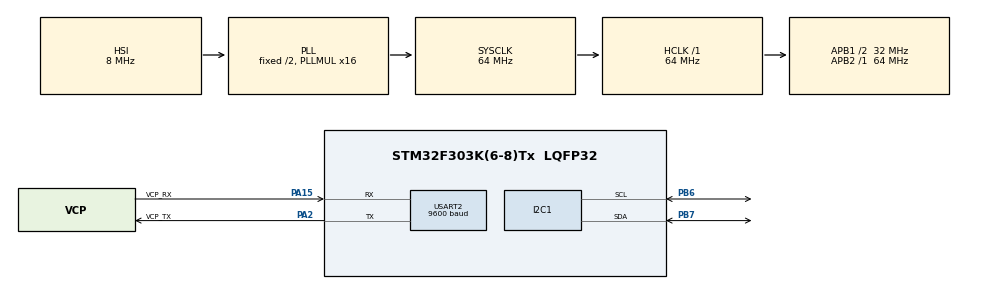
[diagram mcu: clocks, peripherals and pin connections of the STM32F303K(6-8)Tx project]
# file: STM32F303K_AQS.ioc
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Mcu.Family=STM32F3
Mcu.Name=STM32F303K(6-8)Tx
Mcu.Package=LQFP32
NVIC.PriorityGroup=NVIC_PRIORITYGROUP_4
PA13.GPIO_Label=SWDIO
PA13.Mode=Serial_Wire
PA13.Signal=SYS_JTMS-SWDIO
PA14.GPIO_Label=SWCLK
PA14.Mode=Serial_Wire
PA14.Signal=SYS_JTCK-SWCLK
PA15.GPIO_Label=VCP_RX
PA15.Mode=Asynchronous
PA15.Signal=USART2_RX
PA2.GPIO_Label=VCP_TX
PA2.Mode=Asynchronous
PA2.Signal=USART2_TX
PB6.Mode=I2C
PB6.Signal=I2C1_SCL
PB7.Mode=I2C
PB7.Signal=I2C1_SDA
PF0\ /\ OSC_IN.GPIO_Label=MCO
PF0\ /\ OSC_IN.Mode=HSE-External-Clock-Source
PF0\ /\ OSC_IN.Signal=RCC_OSC_IN
ProjectManager.HeapSize=0x200
ProjectManager.StackSize=0x400
ProjectManager.TargetToolchain=SW4STM32
RCC.AHBFreq_Value=64000000
RCC.APB1CLKDivider=RCC_HCLK_DIV2
RCC.APB1Freq_Value=32000000
RCC.APB1TimFreq_Value=64000000
RCC.APB2Freq_Value=64000000
RCC.APB2TimFreq_Value=64000000
RCC.CortexFreq_Value=64000000
RCC.HCLKFreq_Value=64000000
RCC.HSE_VALUE=8000000
RCC.HSI_VALUE=8000000
RCC.PLLMUL=RCC_PLL_MUL16
RCC.SYSCLKFreq_VALUE=64000000
RCC.SYSCLKSourceVirtual=RCC_SYSCLKSOURCE_PLLCLK
USART2.BaudRate=9600
USART2.VirtualMode-Asynchronous=VM_ASYNC
board=NUCLEO-F303K8

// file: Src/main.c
/* USER CODE BEGIN Header */
/**
  ******************************************************************************
  * @file           : main.c
  * @brief          : Main program body
  ******************************************************************************
  * @attention
  *
  * <h2><center>&copy; Copyright (c) 2020 STMicroelectronics.
  * All rights reserved.</center></h2>
  *
  * This software component is licensed by ST under BSD 3-Clause license,
  * the "License"; You may not use this file except in compliance with the
  * License. You may obtain a copy of the License at:
  *                        opensource.org/licenses/BSD-3-Clause
  *
  ******************************************************************************
  */
/* USER CODE END Header */

#include "main.h"

/* USER CODE BEGIN Includes */
#include <stdio.h>
/* USER CODE END Includes */

/* USER CODE BEGIN PTD */
#define AQS_ADDRESS   (0x32<<1)
#define AQS_DATA_LEN  16
#define AQS_ID        0x43
/* USER CODE END PTD */

I2C_HandleTypeDef hi2c1;

UART_HandleTypeDef huart2;

void SystemClock_Config(void);
static void MX_GPIO_Init(void);
static void MX_I2C1_Init(void);
static void MX_USART2_UART_Init(void);

/* USER CODE BEGIN 0 */
int _write (int fd, char *ptr, int len)
{
  HAL_UART_Transmit(&huart2, (uint8_t*)ptr, len, 1000);
  return len;
}
/* USER CODE END 0 */

int main(void)
{

  /* MCU Configuration--------------------------------------------------------*/

  /* Reset of all peripherals, Initializes the Flash interface and the Systick. */
  HAL_Init();

  /* Configure the system clock */
  SystemClock_Config();

  /* Initialize all configured peripherals */
  MX_GPIO_Init();
  MX_I2C1_Init();
  MX_USART2_UART_Init();
  /* USER CODE BEGIN 2 */
  //I2C:SCL,SDA::PB6,PB7::D5,D4
  uint8_t rdata[AQS_DATA_LEN];
  int16_t int_temp,int_humd,int_eth,int_tvoc,int_eco2,int_iaq,int_rcda;
  float temp,humd,eth,tvoc,eco2,iaq,rcda;

  printf("Init OK\n\r");

  /* USER CODE END 2 */

  /* Infinite loop */
  while (1)
  {

    /* USER CODE BEGIN 3 */

	  HAL_I2C_Mem_Read(&hi2c1,AQS_ADDRESS,0,I2C_MEMADD_SIZE_8BIT,rdata,16,0xFFFF);

	  if(rdata[0]==AQS_ID)  printf("Sensor is Found! ");
	  else                 	printf("Sensor is Not Found! ");

	  if(rdata[1]==1)       printf("Sensor is Ready! \n\r");
	  else                  printf("Sensor is Not Ready! \n\r");

	  if(rdata[0]==AQS_ID)
	  {
		  int_temp = ((rdata[2]&0xFF)<<8) +(rdata[3]&0xFF);
		  int_humd = ((rdata[4]&0xFF)<<8) +(rdata[5]&0xFF);
		  int_eth  = ((rdata[6]&0xFF)<<8) +(rdata[7]&0xFF);
		  int_tvoc = ((rdata[8]&0xFF)<<8) +(rdata[9]&0xFF);
		  int_eco2 = ((rdata[10]&0xFF)<<8) +(rdata[11]&0xFF);
		  int_iaq  = ((rdata[12]&0xFF)<<8) +(rdata[13]&0xFF);
		  int_rcda = ((rdata[14]&0xFF)<<8) +(rdata[15]&0xFF);

		  temp = int_temp/100.0;
		  humd = int_humd/100.0;
		  eth  = int_eth/100.0;
		  tvoc = int_tvoc/100.0;
		  eco2 = int_eco2/10.0;
		  iaq = int_iaq/100.0;
		  rcda = int_rcda/100.0;

		  printf("TMP:%1.1f 'C, HMD:%1.1f %%, eCO2:%1.1f ppm, IAQ:%1.1f, Etoh:%1.1f ppm, TVOC:%1.1f mg/m3, logRcda:%1.1f ohm \n\r",
					 temp, humd, eco2, iaq, eth, tvoc, rcda);
	  }

	  HAL_Delay(2000);

  }
  /* USER CODE END 3 */
}

void SystemClock_Config(void)
{
  RCC_OscInitTypeDef RCC_OscInitStruct = {0};
  RCC_ClkInitTypeDef RCC_ClkInitStruct = {0};
  RCC_PeriphCLKInitTypeDef PeriphClkInit = {0};

  /** Initializes the CPU, AHB and APB busses clocks
  */
  RCC_OscInitStruct.OscillatorType = RCC_OSCILLATORTYPE_HSI;
  RCC_OscInitStruct.HSIState = RCC_HSI_ON;
  RCC_OscInitStruct.HSICalibrationValue = RCC_HSICALIBRATION_DEFAULT;
  RCC_OscInitStruct.PLL.PLLState = RCC_PLL_ON;
  RCC_OscInitStruct.PLL.PLLSource = RCC_PLLSOURCE_HSI;
  RCC_OscInitStruct.PLL.PLLMUL = RCC_PLL_MUL16;
  if (HAL_RCC_OscConfig(&RCC_OscInitStruct) != HAL_OK)
  {
    Error_Handler();
  }
  /** Initializes the CPU, AHB and APB busses clocks
  */
  RCC_ClkInitStruct.ClockType = RCC_CLOCKTYPE_HCLK|RCC_CLOCKTYPE_SYSCLK
                              |RCC_CLOCKTYPE_PCLK1|RCC_CLOCKTYPE_PCLK2;
  RCC_ClkInitStruct.SYSCLKSource = RCC_SYSCLKSOURCE_PLLCLK;
  RCC_ClkInitStruct.AHBCLKDivider = RCC_SYSCLK_DIV1;
  RCC_ClkInitStruct.APB1CLKDivider = RCC_HCLK_DIV2;
  RCC_ClkInitStruct.APB2CLKDivider = RCC_HCLK_DIV1;

  if (HAL_RCC_ClockConfig(&RCC_ClkInitStruct, FLASH_LATENCY_2) != HAL_OK)
  {
    Error_Handler();
  }
  PeriphClkInit.PeriphClockSelection = RCC_PERIPHCLK_I2C1;
  PeriphClkInit.I2c1ClockSelection = RCC_I2C1CLKSOURCE_HSI;
  if (HAL_RCCEx_PeriphCLKConfig(&PeriphClkInit) != HAL_OK)
  {
    Error_Handler();
  }
}

static void MX_I2C1_Init(void)
{

  hi2c1.Instance = I2C1;
  hi2c1.Init.Timing = 0x2000090E;
  hi2c1.Init.OwnAddress1 = 0;
  hi2c1.Init.AddressingMode = I2C_ADDRESSINGMODE_7BIT;
  hi2c1.Init.DualAddressMode = I2C_DUALADDRESS_DISABLE;
  hi2c1.Init.OwnAddress2 = 0;
  hi2c1.Init.OwnAddress2Masks = I2C_OA2_NOMASK;
  hi2c1.Init.GeneralCallMode = I2C_GENERALCALL_DISABLE;
  hi2c1.Init.NoStretchMode = I2C_NOSTRETCH_DISABLE;
  if (HAL_I2C_Init(&hi2c1) != HAL_OK)
  {
    Error_Handler();
  }
  /** Configure Analogue filter
  */
  if (HAL_I2CEx_ConfigAnalogFilter(&hi2c1, I2C_ANALOGFILTER_ENABLE) != HAL_OK)
  {
    Error_Handler();
  }
  /** Configure Digital filter
  */
  if (HAL_I2CEx_ConfigDigitalFilter(&hi2c1, 0) != HAL_OK)
  {
    Error_Handler();
  }

}

static void MX_USART2_UART_Init(void)
{

  huart2.Instance = USART2;
  huart2.Init.BaudRate = 9600;
  huart2.Init.WordLength = UART_WORDLENGTH_8B;
  huart2.Init.StopBits = UART_STOPBITS_1;
  huart2.Init.Parity = UART_PARITY_NONE;
  huart2.Init.Mode = UART_MODE_TX_RX;
  huart2.Init.HwFlowCtl = UART_HWCONTROL_NONE;
  huart2.Init.OverSampling = UART_OVERSAMPLING_16;
  huart2.Init.OneBitSampling = UART_ONE_BIT_SAMPLE_DISABLE;
  huart2.AdvancedInit.AdvFeatureInit = UART_ADVFEATURE_NO_INIT;
  if (HAL_UART_Init(&huart2) != HAL_OK)
  {
    Error_Handler();
  }

}

static void MX_GPIO_Init(void)
{

  /* GPIO Ports Clock Enable */
  __HAL_RCC_GPIOF_CLK_ENABLE();
  __HAL_RCC_GPIOA_CLK_ENABLE();
  __HAL_RCC_GPIOB_CLK_ENABLE();

}

void Error_Handler(void)
{
}

/************************ (C) COPYRIGHT STMicroelectronics *****END OF FILE****/
